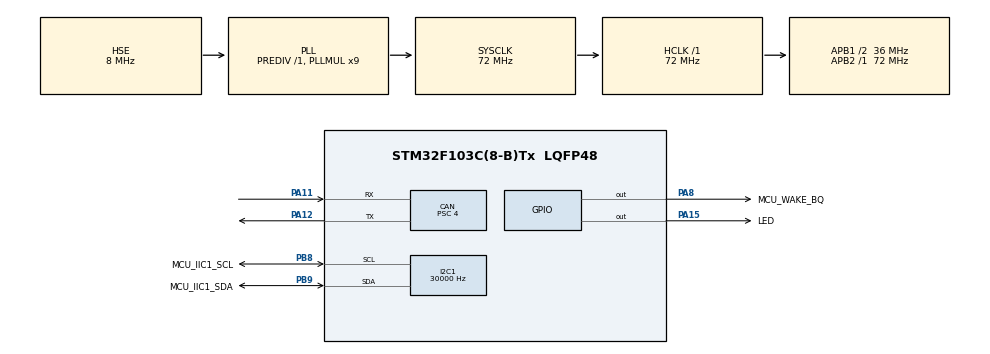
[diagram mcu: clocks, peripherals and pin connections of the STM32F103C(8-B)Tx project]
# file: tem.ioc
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CAN.ABOM=ENABLE
CAN.BS1=CAN_BS1_15TQ
CAN.BS2=CAN_BS2_2TQ
CAN.CalculateBaudRate=500000
CAN.CalculateTimeBit=2000
CAN.CalculateTimeQuantum=111.11111111111111
CAN.NART=ENABLE
CAN.Prescaler=4
I2C1.ClockSpeed=30000
IWDG.Prescaler=IWDG_PRESCALER_256
IWDG.Reload=1250
Mcu.Family=STM32F1
Mcu.Name=STM32F103C(8-B)Tx
Mcu.Package=LQFP48
NVIC.I2C1_ER_IRQn=true\:7\:0\:true\:false\:true\:true\:true\:true
NVIC.I2C1_EV_IRQn=true\:7\:0\:true\:false\:true\:true\:true\:true
NVIC.PriorityGroup=NVIC_PRIORITYGROUP_4
NVIC.TIM4_IRQn=true\:5\:0\:true\:false\:false\:true\:true\:true
NVIC.USB_LP_CAN1_RX0_IRQn=true\:5\:0\:true\:false\:true\:true\:true\:true
PA11.Mode=CAN_Activate
PA11.Signal=CAN_RX
PA12.Mode=CAN_Activate
PA12.Signal=CAN_TX
PA13.Mode=Serial_Wire
PA13.Signal=SYS_JTMS-SWDIO
PA14.Mode=Serial_Wire
PA14.Signal=SYS_JTCK-SWCLK
PA15.GPIO_Label=LED
PA15.Signal=GPIO_Output
PA8.GPIO_Label=MCU_WAKE_BQ
PA8.PinState=GPIO_PIN_RESET
PA8.Signal=GPIO_Output
PB8.GPIO_Label=MCU_IIC1_SCL
PB8.Mode=I2C
PB8.Signal=I2C1_SCL
PB9.GPIO_Label=MCU_IIC1_SDA
PB9.Mode=I2C
PB9.Signal=I2C1_SDA
PD0-OSC_IN.Mode=HSE-External-Oscillator
PD0-OSC_IN.Signal=RCC_OSC_IN
PD1-OSC_OUT.Mode=HSE-External-Oscillator
PD1-OSC_OUT.Signal=RCC_OSC_OUT
ProjectManager.HeapSize=0x200
ProjectManager.StackSize=0x400
ProjectManager.TargetToolchain=MDK-ARM V5.32
RCC.AHBFreq_Value=72000000
RCC.APB1CLKDivider=RCC_HCLK_DIV2
RCC.APB1Freq_Value=36000000
RCC.APB1TimFreq_Value=72000000
RCC.APB2Freq_Value=72000000
RCC.APB2TimFreq_Value=72000000
RCC.HCLKFreq_Value=72000000
RCC.PLLMUL=RCC_PLL_MUL9
RCC.PLLSourceVirtual=RCC_PLLSOURCE_HSE
RCC.SYSCLKFreq_VALUE=72000000
RCC.SYSCLKSource=RCC_SYSCLKSOURCE_PLLCLK
RCC.USBFreq_Value=72000000
TIM4.Period=1000-1
TIM4.Prescaler=72-1
VP_IWDG_VS_IWDG.Mode=IWDG_Activate
VP_TIM4_VS_ClockSourceINT.Mode=Internal
board=custom

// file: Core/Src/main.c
/* USER CODE BEGIN Header */
/**
  ******************************************************************************
  * @file           : main.c
  * @brief          : Main program body
  ******************************************************************************
  * @attention
  *
  * Copyright (c) 2026 STMicroelectronics.
  * All rights reserved.
  *
  * This software is licensed under terms that can be found in the LICENSE file
  * in the root directory of this software component.
  * If no LICENSE file comes with this software, it is provided AS-IS.
  *
  ******************************************************************************
  */
/* USER CODE END Header */
#include "main.h"
#include "can.h"
#include "i2c.h"
#include "iwdg.h"
#include "tim.h"
#include "gpio.h"

/* USER CODE BEGIN Includes */
#include "FreeRTOS.h"
#include "task.h"
#include "app_task.h"
#include "stdio.h"
#include "bq76940.h"
#include "app_init.h"
/* USER CODE END Includes */

/* USER CODE BEGIN PV */
static volatile const char * assert_file;
static volatile unsigned long assert_line;
/* USER CODE END PV */

void SystemClock_Config(void);

int main(void)
{

  /* USER CODE BEGIN 1 */
	__HAL_DBGMCU_FREEZE_IWDG();					/* 在调试时自动冻结，内核暂停时冻结IWDG */
  /* USER CODE END 1 */

  /* MCU Configuration--------------------------------------------------------*/

  /* Reset of all peripherals, Initializes the Flash interface and the Systick. */
  HAL_Init();

  /* Configure the system clock */
  SystemClock_Config();

  /* Initialize all configured peripherals */
  MX_GPIO_Init();
  MX_TIM4_Init();
  MX_I2C1_Init();
  MX_IWDG_Init();
  MX_CAN_Init();
  /* USER CODE BEGIN 2 */

	BQ_Init();
	App_Init();
  vTaskStartScheduler();
  /* USER CODE END 2 */

  /* Infinite loop */
  while (1)
  {

  }
}

void SystemClock_Config(void)
{
  RCC_OscInitTypeDef RCC_OscInitStruct = {0};
  RCC_ClkInitTypeDef RCC_ClkInitStruct = {0};

  /** Initializes the RCC Oscillators according to the specified parameters
  * in the RCC_OscInitTypeDef structure.
  */
  RCC_OscInitStruct.OscillatorType = RCC_OSCILLATORTYPE_LSI|RCC_OSCILLATORTYPE_HSE;
  RCC_OscInitStruct.HSEState = RCC_HSE_ON;
  RCC_OscInitStruct.HSEPredivValue = RCC_HSE_PREDIV_DIV1;
  RCC_OscInitStruct.HSIState = RCC_HSI_ON;
  RCC_OscInitStruct.LSIState = RCC_LSI_ON;
  RCC_OscInitStruct.PLL.PLLState = RCC_PLL_ON;
  RCC_OscInitStruct.PLL.PLLSource = RCC_PLLSOURCE_HSE;
  RCC_OscInitStruct.PLL.PLLMUL = RCC_PLL_MUL9;
  if (HAL_RCC_OscConfig(&RCC_OscInitStruct) != HAL_OK)
  {
    Error_Handler();
  }

  /** Initializes the CPU, AHB and APB buses clocks
  */
  RCC_ClkInitStruct.ClockType = RCC_CLOCKTYPE_HCLK|RCC_CLOCKTYPE_SYSCLK
                              |RCC_CLOCKTYPE_PCLK1|RCC_CLOCKTYPE_PCLK2;
  RCC_ClkInitStruct.SYSCLKSource = RCC_SYSCLKSOURCE_PLLCLK;
  RCC_ClkInitStruct.AHBCLKDivider = RCC_SYSCLK_DIV1;
  RCC_ClkInitStruct.APB1CLKDivider = RCC_HCLK_DIV2;
  RCC_ClkInitStruct.APB2CLKDivider = RCC_HCLK_DIV1;

  if (HAL_RCC_ClockConfig(&RCC_ClkInitStruct, FLASH_LATENCY_2) != HAL_OK)
  {
    Error_Handler();
  }
}

/* USER CODE BEGIN 4 */
/* FreeRTOS 内部大量 configASSERT(条件)，条件为假就触发断言，调用 vAssertCalled */
/* pcFile：__FILE__，C 语言预定义宏，代表当前源码文件名（字符串）
ulLine：__LINE__，C 语言预定义宏，代表当前代码行号 */
void vAssertCalled( const char * pcFile, unsigned long ulLine )
{
  assert_file = pcFile;
  assert_line = ulLine;
	(void)assert_file;
	(void)assert_line;
  __disable_irq();
  while (1)
  {
  }
}

/* configCHECK_FOR_STACK_OVERFLOW = 2：上下文切换时检测到任务栈溢出会进这里 */
void vApplicationStackOverflowHook( TaskHandle_t xTask, char * pcTaskName )
{
  ( void )xTask;
  ( void )pcTaskName;
  __disable_irq();
  while (1)
  {
  }
}

/* 堆（heap_4 共 10KB）分配失败会进这里，通常是任务/队列/信号量开太多 */
void vApplicationMallocFailedHook( void )
{
  __disable_irq();
  while (1)
  {
  }
}
/* USER CODE END 4 */

void Error_Handler(void)
{
  __disable_irq();
  while (1)
  {
  }
}
